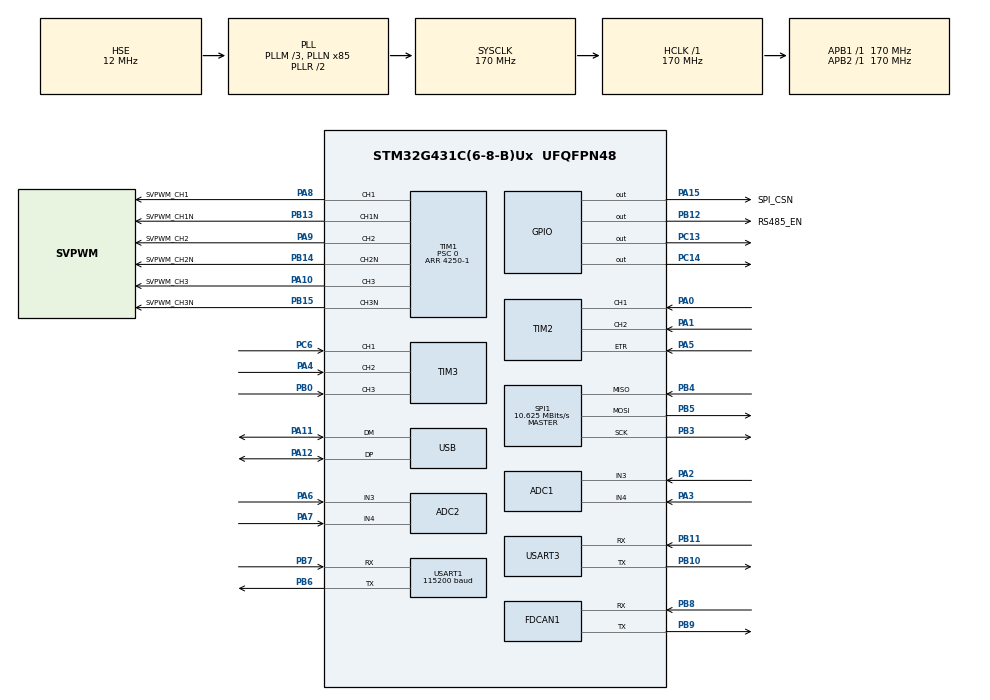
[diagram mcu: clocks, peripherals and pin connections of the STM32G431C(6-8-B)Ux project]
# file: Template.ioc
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ADC1.Channel-0\#ChannelRegularConversion=ADC_CHANNEL_3
ADC1.EnableInjectedConversion=ENABLE
ADC1.ExternalTrigConv=ADC_SOFTWARE_START
ADC1.ExternalTrigInjecConv=ADC_EXTERNALTRIGINJEC_T1_CC4
ADC1.ExternalTrigInjecConvEdge=ADC_EXTERNALTRIGINJECCONV_EDGE_FALLING
ADC1.InjNumberOfConversion=2
ADC1.InjectedChannel-2\#ChannelInjectedConversion=ADC_CHANNEL_3
ADC1.InjectedChannel-3\#ChannelInjectedConversion=ADC_CHANNEL_4
ADC1.InjectedOffsetNumber-2\#ChannelInjectedConversion=ADC_OFFSET_NONE
ADC1.InjectedOffsetNumber-3\#ChannelInjectedConversion=ADC_OFFSET_NONE
ADC1.InjectedRank-2\#ChannelInjectedConversion=1
ADC1.InjectedRank-3\#ChannelInjectedConversion=2
ADC1.InjectedSamplingTime-2\#ChannelInjectedConversion=ADC_SAMPLETIME_6CYCLES_5
ADC1.InjectedSamplingTime-3\#ChannelInjectedConversion=ADC_SAMPLETIME_6CYCLES_5
ADC1.NbrOfConversion=1
ADC1.NbrOfConversionFlag=1
ADC1.OffsetNumber-0\#ChannelRegularConversion=ADC_OFFSET_NONE
ADC1.Rank-0\#ChannelRegularConversion=1
ADC1.Rank1_Channel=ADC_CHANNEL_3
ADC1.Rank2_Channel=ADC_CHANNEL_4
ADC1.SamplingTime-0\#ChannelRegularConversion=ADC_SAMPLETIME_6CYCLES_5
ADC1.master=1
ADC2.Channel-2\#ChannelRegularConversion=ADC_CHANNEL_3
ADC2.Channel-3\#ChannelRegularConversion=ADC_CHANNEL_4
ADC2.NbrOfConversion=2
ADC2.NbrOfConversionFlag=1
ADC2.OffsetNumber-2\#ChannelRegularConversion=ADC_OFFSET_NONE
ADC2.OffsetNumber-3\#ChannelRegularConversion=ADC_OFFSET_NONE
ADC2.Rank-2\#ChannelRegularConversion=1
ADC2.Rank-3\#ChannelRegularConversion=2
ADC2.SamplingTime-2\#ChannelRegularConversion=ADC_SAMPLETIME_12CYCLES_5
ADC2.SamplingTime-3\#ChannelRegularConversion=ADC_SAMPLETIME_12CYCLES_5
Dma.Request0=USART1_TX
Dma.Request1=USART1_RX
Dma.USART1_RX.1.Direction=DMA_PERIPH_TO_MEMORY
Dma.USART1_RX.1.EventEnable=DISABLE
Dma.USART1_RX.1.Instance=DMA1_Channel2
Dma.USART1_RX.1.MemDataAlignment=DMA_MDATAALIGN_BYTE
Dma.USART1_RX.1.MemInc=DMA_MINC_ENABLE
Dma.USART1_RX.1.Mode=DMA_NORMAL
Dma.USART1_RX.1.PeriphDataAlignment=DMA_PDATAALIGN_BYTE
Dma.USART1_RX.1.PeriphInc=DMA_PINC_DISABLE
Dma.USART1_RX.1.Polarity=HAL_DMAMUX_REQ_GEN_RISING
Dma.USART1_RX.1.Priority=DMA_PRIORITY_HIGH
Dma.USART1_RX.1.RequestNumber=1
Dma.USART1_RX.1.SignalID=NONE
Dma.USART1_RX.1.SyncEnable=DISABLE
Dma.USART1_RX.1.SyncPolarity=HAL_DMAMUX_SYNC_NO_EVENT
Dma.USART1_RX.1.SyncRequestNumber=1
Dma.USART1_RX.1.SyncSignalID=NONE
Dma.USART1_TX.0.Direction=DMA_MEMORY_TO_PERIPH
Dma.USART1_TX.0.EventEnable=DISABLE
Dma.USART1_TX.0.Instance=DMA1_Channel1
Dma.USART1_TX.0.MemDataAlignment=DMA_MDATAALIGN_BYTE
Dma.USART1_TX.0.MemInc=DMA_MINC_ENABLE
Dma.USART1_TX.0.Mode=DMA_NORMAL
Dma.USART1_TX.0.PeriphDataAlignment=DMA_PDATAALIGN_BYTE
Dma.USART1_TX.0.PeriphInc=DMA_PINC_DISABLE
Dma.USART1_TX.0.Polarity=HAL_DMAMUX_REQ_GEN_RISING
Dma.USART1_TX.0.Priority=DMA_PRIORITY_HIGH
Dma.USART1_TX.0.RequestNumber=1
Dma.USART1_TX.0.SignalID=NONE
Dma.USART1_TX.0.SyncEnable=DISABLE
Dma.USART1_TX.0.SyncPolarity=HAL_DMAMUX_SYNC_NO_EVENT
Dma.USART1_TX.0.SyncRequestNumber=1
Dma.USART1_TX.0.SyncSignalID=NONE
FDCAN1.CalculateBaudRateNominal=1062500
FDCAN1.CalculateTimeBitNominal=941
FDCAN1.CalculateTimeQuantumNominal=94.11764705882354
FDCAN1.DataPrescaler=16
FDCAN1.DataTimeSeg1=10
FDCAN1.DataTimeSeg2=9
FDCAN1.FrameFormat=FDCAN_FRAME_CLASSIC
FDCAN1.NominalTimeSeg1=5
FDCAN1.NominalTimeSeg2=4
FDCAN1.ProtocolException=DISABLE
FDCAN1.StdFiltersNbr=2
Mcu.Family=STM32G4
Mcu.Name=STM32G431C(6-8-B)Ux
Mcu.Package=UFQFPN48
NVIC.ADC1_2_IRQn=true\:0\:0\:false\:false\:true\:true\:true\:true
NVIC.DMA1_Channel1_IRQn=true\:2\:0\:true\:false\:true\:false\:true\:true
NVIC.DMA1_Channel2_IRQn=true\:0\:0\:false\:false\:true\:false\:true\:true
NVIC.FDCAN1_IT0_IRQn=true\:1\:0\:true\:false\:true\:true\:true\:true
NVIC.PriorityGroup=NVIC_PRIORITYGROUP_2
NVIC.TIM1_UP_TIM16_IRQn=true\:0\:1\:false\:false\:true\:true\:true\:true
NVIC.TIM6_DAC_IRQn=true\:2\:0\:true\:false\:true\:true\:true\:true
NVIC.USART1_IRQn=true\:1\:0\:true\:false\:true\:true\:true\:true
NVIC.USB_LP_IRQn=true\:1\:0\:true\:false\:true\:false\:true\:true
PA0.Signal=S_TIM2_CH1
PA1.Signal=S_TIM2_CH2
PA10.GPIO_Label=SVPWM_CH3
PA10.Signal=S_TIM1_CH3
PA11.Mode=Device
PA11.Signal=USB_DM
PA12.Mode=Device
PA12.Signal=USB_DP
PA13.Mode=Serial_Wire
PA13.Signal=SYS_JTMS-SWDIO
PA14.Mode=Serial_Wire
PA14.Signal=SYS_JTCK-SWCLK
PA15.GPIO_Label=SPI_CSN
PA15.Signal=GPIO_Output
PA2.Mode=IN3-Single-Ended
PA2.Signal=ADC1_IN3
PA3.Mode=IN4-Single-Ended
PA3.Signal=ADC1_IN4
PA4.Signal=S_TIM3_CH2
PA5.Signal=S_TIM2_ETR
PA6.Mode=IN3-Single-Ended
PA6.Signal=ADC2_IN3
PA7.Mode=IN4-Single-Ended
PA7.Signal=ADC2_IN4
PA8.GPIO_Label=SVPWM_CH1
PA8.Signal=S_TIM1_CH1
PA9.GPIO_Label=SVPWM_CH2
PA9.Signal=S_TIM1_CH2
PB0.Signal=S_TIM3_CH3
PB10.Mode=Asynchronous
PB10.Signal=USART3_TX
PB11.Mode=Asynchronous
PB11.Signal=USART3_RX
PB12.GPIO_Label=RS485_EN
PB12.Signal=GPIO_Output
PB13.GPIO_Label=SVPWM_CH1N
PB13.Mode=PWM Generation1 CH1 CH1N
PB13.Signal=TIM1_CH1N
PB14.GPIO_Label=SVPWM_CH2N
PB14.Mode=PWM Generation2 CH2 CH2N
PB14.Signal=TIM1_CH2N
PB15.GPIO_Label=SVPWM_CH3N
PB15.Mode=PWM Generation3 CH3 CH3N
PB15.Signal=TIM1_CH3N
PB3.Mode=Full_Duplex_Master
PB3.Signal=SPI1_SCK
PB4.Mode=Full_Duplex_Master
PB4.Signal=SPI1_MISO
PB5.Mode=Full_Duplex_Master
PB5.Signal=SPI1_MOSI
PB6.GPIO_PuPd=GPIO_NOPULL
PB6.GPIO_Speed=GPIO_SPEED_FREQ_LOW
PB6.Mode=Asynchronous
PB6.Signal=USART1_TX
PB7.GPIO_PuPd=GPIO_NOPULL
PB7.GPIO_Speed=GPIO_SPEED_FREQ_LOW
PB7.Mode=Asynchronous
PB7.Signal=USART1_RX
PB8-BOOT0.Mode=FDCAN_Activate
PB8-BOOT0.Signal=FDCAN1_RX
PB9.Mode=FDCAN_Activate
PB9.Signal=FDCAN1_TX
PC13.Signal=GPIO_Output
PC14-OSC32_IN.Signal=GPIO_Output
PC6.Signal=S_TIM3_CH1
PF0-OSC_IN.Mode=HSE-External-Oscillator
PF0-OSC_IN.Signal=RCC_OSC_IN
PF1-OSC_OUT.Mode=HSE-External-Oscillator
PF1-OSC_OUT.Signal=RCC_OSC_OUT
ProjectManager.HeapSize=0x1500
ProjectManager.StackSize=0x1500
ProjectManager.TargetToolchain=CMake
RCC.ADC12Freq_Value=170000000
RCC.AHBFreq_Value=170000000
RCC.APB1Freq_Value=170000000
RCC.APB1TimFreq_Value=170000000
RCC.APB2Freq_Value=170000000
RCC.APB2TimFreq_Value=170000000
RCC.CK48CLockSelection=RCC_USBCLKSOURCE_HSI48
RCC.CortexFreq_Value=170000000
RCC.EXTERNAL_CLOCK_VALUE=12288000
RCC.HCLKFreq_Value=170000000
RCC.HSE_VALUE=12000000
RCC.HSI48_VALUE=48000000
RCC.HSI_VALUE=16000000
RCC.LSE_VALUE=32768
RCC.PLLM=RCC_PLLM_DIV3
RCC.PLLN=85
RCC.PLLSourceVirtual=RCC_PLLSOURCE_HSE
RCC.SYSCLKFreq_VALUE=170000000
RCC.SYSCLKSource=RCC_SYSCLKSOURCE_PLLCLK
RCC.USBFreq_Value=48000000
RCC.VCOOutputFreq_Value=340000000
SH.S_TIM1_CH1.0=TIM1_CH1,PWM Generation1 CH1 CH1N
SH.S_TIM1_CH2.0=TIM1_CH2,PWM Generation2 CH2 CH2N
SH.S_TIM1_CH3.0=TIM1_CH3,PWM Generation3 CH3 CH3N
SH.S_TIM2_CH1.0=TIM2_CH1,Encoder_Interface_w_index
SH.S_TIM2_CH2.0=TIM2_CH2,Encoder_Interface_w_index
SH.S_TIM2_ETR.0=TIM2_ETR,Encoder_Interface_w_index
SH.S_TIM3_CH1.0=TIM3_CH1,Xored_Inputs_Hall_Sensor_Interface
SH.S_TIM3_CH2.0=TIM3_CH2,Xored_Inputs_Hall_Sensor_Interface
SH.S_TIM3_CH3.0=TIM3_CH3,Xored_Inputs_Hall_Sensor_Interface
SPI1.BaudRatePrescaler=SPI_BAUDRATEPRESCALER_16
SPI1.CLKPhase=SPI_PHASE_2EDGE
SPI1.CalculateBaudRate=10.625 MBits/s
SPI1.DataSize=SPI_DATASIZE_16BIT
SPI1.Direction=SPI_DIRECTION_2LINES
SPI1.Mode=SPI_MODE_MASTER
SPI1.VirtualType=VM_MASTER
STMicroelectronics.X-CUBE-ALGOBUILD.1.4.0.LibraryCcDSPOoLibraryJjDSPOoLibrary=true
TIM1.AutoReloadPreload=TIM_AUTORELOAD_PRELOAD_ENABLE
TIM1.Channel-PWM\ Generation1\ CH1\ CH1N=TIM_CHANNEL_1
TIM1.Channel-PWM\ Generation2\ CH2\ CH2N=TIM_CHANNEL_2
TIM1.Channel-PWM\ Generation3\ CH3\ CH3N=TIM_CHANNEL_3
TIM1.Channel-PWM\ Generation4\ No\ Output=TIM_CHANNEL_4
TIM1.CounterMode=TIM_COUNTERMODE_CENTERALIGNED1
TIM1.DeadTime=50
TIM1.PeriodNoDither=4250-1
TIM1.Prescaler=0
TIM1.PulseNoDither_4=4250-10
TIM1.RepetitionCounter=0
TIM6.AutoReloadPreload=TIM_AUTORELOAD_PRELOAD_ENABLE
TIM6.PeriodNoDither=1000 - 1
TIM6.Prescaler=17 - 1
USART1.AutoBaudRateEnableParam=UART_ADVFEATURE_AUTOBAUDRATE_DISABLE
USART1.BaudRate=115200
USART1.FIFOMode=FIFOMODE_ENABLE
USART1.VirtualMode-Asynchronous=VM_ASYNC
USART3.VirtualMode-Asynchronous=VM_ASYNC
USB_DEVICE.CLASS_NAME_FS=CDC
USB_DEVICE.VirtualMode=Cdc
USB_DEVICE.VirtualModeFS=Cdc_FS
VP_STMicroelectronics.X-CUBE-ALGOBUILD_VS_DSPOoLibraryJjLibrary_1.4.0_1.4.0.Mode=DSPOoLibraryJjLibrary
VP_SYS_VS_DBSignals.Mode=DisableDeadBatterySignals
VP_TIM1_VS_ClockSourceINT.Mode=Internal
VP_TIM1_VS_no_output4.Mode=PWM Generation4 No Output
VP_TIM6_VS_ClockSourceINT.Mode=Enable_Timer
VP_USB_DEVICE_VS_USB_DEVICE_CDC_FS.Mode=CDC_FS
board=custom

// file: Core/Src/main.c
/* USER CODE BEGIN Header */
/**
 ******************************************************************************
 * @file           : main.c
 * @brief          : Main program body
 ******************************************************************************
 * @attention
 *
 * Copyright (c) 2026 STMicroelectronics.
 * All rights reserved.
 *
 * This software is licensed under terms that can be found in the LICENSE file
 * in the root directory of this software component.
 * If no LICENSE file comes with this software, it is provided AS-IS.
 *
 ******************************************************************************
 */
/* USER CODE END Header */
#include "main.h"
#include "adc.h"
#include "dma.h"
#include "fdcan.h"
#include "spi.h"
#include "stm32g431xx.h"
#include "stm32g4xx_hal.h"
#include "stm32g4xx_hal_gpio.h"
#include "tim.h"
#include "usart.h"
#include "usb_device.h"
#include "gpio.h"

/* USER CODE BEGIN Includes */
#include "vofa.h"
#include "foc.h"
#include "arm_math.h"
#include "as5047.h"
#include <math.h>
/* USER CODE END Includes */

/* USER CODE BEGIN PV */
VOFA_Instance *vofa;
float vofa_sendfloat[8] = {0};
FOC_Instance *foc;

AS5047P_Instance *as5047p;
float as5047p_angle;

float mec_angle_act = 0.0f;
float ele_angle_act = 0.0f;
float mec_angle_target = 0.0f;
float ele_angle_target = 0.0f;

uint32_t count1_start = 0;
uint32_t count2_nums = 0;

float bias = 0.0f;
float bias_sum = 0.0f;
float bias_avg = 0.0f;
void SystemClock_Config(void);

/* USER CODE BEGIN 0 */
void HAL_TIM_PeriodElapsedCallback(TIM_HandleTypeDef *htim) {
  if (htim->Instance == TIM6) {
    as5047p_angle = AS5047P_ReadAngle(as5047p);

    mec_angle_act = 2 * PI - as5047p_angle;
    ele_angle_act = 14 * mec_angle_act + 42.0913811f;
    // if(ele_angle_act >= 28 * PI) {
    //   ele_angle_act -= 28 * PI;
    // }

    // mec_angle_target += 0.00005f;
    // if(mec_angle_target >= 2 * PI) {
    //   mec_angle_target -= 2 * PI;
    // }
    // ele_angle_target = 14 * mec_angle_target;

    // FOC_OpenLoop(foc, 1.2f, 0.0f, ele_angle_target);
    FOC_OpenLoop(foc, 0.0f, 1.5f, ele_angle_act);

    // if(count1_start != 50000 ) {
    //   count1_start ++;
    // }
    // else {
    //   if(count2_nums < 50000) {
    //     bias = ele_angle_target - ele_angle_act;
    //     if(bias < 50.0f && bias > 40.0f) {
    //       bias_sum += bias;
    //       count2_nums ++;
    //     }
    //   }
    //   else if(count2_nums == 50000) {
    //     bias_avg = bias_sum / count2_nums;
    //     count2_nums ++;
    //   }
    // }

    // FOC_EncoderOpenLoop(foc, 0.0f, 1.2f, -as5047p_angle);
  }
}
/* USER CODE END 0 */

int main(void)
{

  /* MCU Configuration--------------------------------------------------------*/

  /* Reset of all peripherals, Initializes the Flash interface and the Systick. */
  HAL_Init();

  /* Configure the system clock */
  SystemClock_Config();

  /* Initialize all configured peripherals */
  MX_GPIO_Init();
  MX_DMA_Init();
  MX_ADC1_Init();
  MX_FDCAN1_Init();
  MX_SPI1_Init();
  MX_TIM1_Init();
  MX_TIM2_Init();
  MX_TIM3_Init();
  MX_USART1_UART_Init();
  MX_USART3_UART_Init();
  MX_USB_Device_Init();
  MX_ADC2_Init();
  MX_TIM6_Init();
  /* USER CODE BEGIN 2 */
  vofa = VOFA_Register(&huart1);
  if (vofa == NULL)
    while (1)
      ;

  FOC_InitTypedef init = {
    .powerVol = 8.0f,
    .tim = &htim1,
    .pole_pairs = 14,
  };
  foc = FOC_Register(&init);
  if (foc == NULL)
    while (1)
      ;

  as5047p = AS5047P_Register(&hspi1, GPIOA, GPIO_PIN_15, 0.15f);

  HAL_Delay(500);
  HAL_TIM_Base_Start_IT(&htim6);
  FOC_Init(foc, -2.807407843);
  /* USER CODE END 2 */

  /* Infinite loop */
  /* USER CODE BEGIN WHILE */
  while (1) {
    vofa_sendfloat[0] = mec_angle_act;
    vofa_sendfloat[1] = ele_angle_act;
    vofa_sendfloat[2] = mec_angle_target;
    vofa_sendfloat[3] = ele_angle_target;
    VOFA_Send(vofa, vofa_sendfloat, 4);
    HAL_Delay(5);
    /* USER CODE END WHILE */

  }
}

void SystemClock_Config(void)
{
  RCC_OscInitTypeDef RCC_OscInitStruct = {0};
  RCC_ClkInitTypeDef RCC_ClkInitStruct = {0};

  /** Configure the main internal regulator output voltage
  */
  HAL_PWREx_ControlVoltageScaling(PWR_REGULATOR_VOLTAGE_SCALE1_BOOST);

  /** Initializes the RCC Oscillators according to the specified parameters
  * in the RCC_OscInitTypeDef structure.
  */
  RCC_OscInitStruct.OscillatorType = RCC_OSCILLATORTYPE_HSI48|RCC_OSCILLATORTYPE_HSE;
  RCC_OscInitStruct.HSEState = RCC_HSE_ON;
  RCC_OscInitStruct.HSI48State = RCC_HSI48_ON;
  RCC_OscInitStruct.PLL.PLLState = RCC_PLL_ON;
  RCC_OscInitStruct.PLL.PLLSource = RCC_PLLSOURCE_HSE;
  RCC_OscInitStruct.PLL.PLLM = RCC_PLLM_DIV3;
  RCC_OscInitStruct.PLL.PLLN = 85;
  RCC_OscInitStruct.PLL.PLLP = RCC_PLLP_DIV2;
  RCC_OscInitStruct.PLL.PLLQ = RCC_PLLQ_DIV2;
  RCC_OscInitStruct.PLL.PLLR = RCC_PLLR_DIV2;
  if (HAL_RCC_OscConfig(&RCC_OscInitStruct) != HAL_OK)
  {
    Error_Handler();
  }

  /** Initializes the CPU, AHB and APB buses clocks
  */
  RCC_ClkInitStruct.ClockType = RCC_CLOCKTYPE_HCLK|RCC_CLOCKTYPE_SYSCLK
                              |RCC_CLOCKTYPE_PCLK1|RCC_CLOCKTYPE_PCLK2;
  RCC_ClkInitStruct.SYSCLKSource = RCC_SYSCLKSOURCE_PLLCLK;
  RCC_ClkInitStruct.AHBCLKDivider = RCC_SYSCLK_DIV1;
  RCC_ClkInitStruct.APB1CLKDivider = RCC_HCLK_DIV1;
  RCC_ClkInitStruct.APB2CLKDivider = RCC_HCLK_DIV1;

  if (HAL_RCC_ClockConfig(&RCC_ClkInitStruct, FLASH_LATENCY_4) != HAL_OK)
  {
    Error_Handler();
  }
}

void Error_Handler(void)
{
  __disable_irq();
  while (1) {
  }
}
#ifdef USE_FULL_ASSERT
/**
  * @brief  Reports the name of the source file and the source line number
  *         where the assert_param error has occurred.
  * @param  file: pointer to the source file name
  * @param  line: assert_param error line source number
  * @retval None
  */
void assert_failed(uint8_t *file, uint32_t line)
{
  /* USER CODE BEGIN 6 */
  /* User can add his own implementation to report the file name and line
     number, ex: printf("Wrong parameters value: file %s on line %d\r\n", file,
     line) */
  /* USER CODE END 6 */
}
#endif /* USE_FULL_ASSERT */
